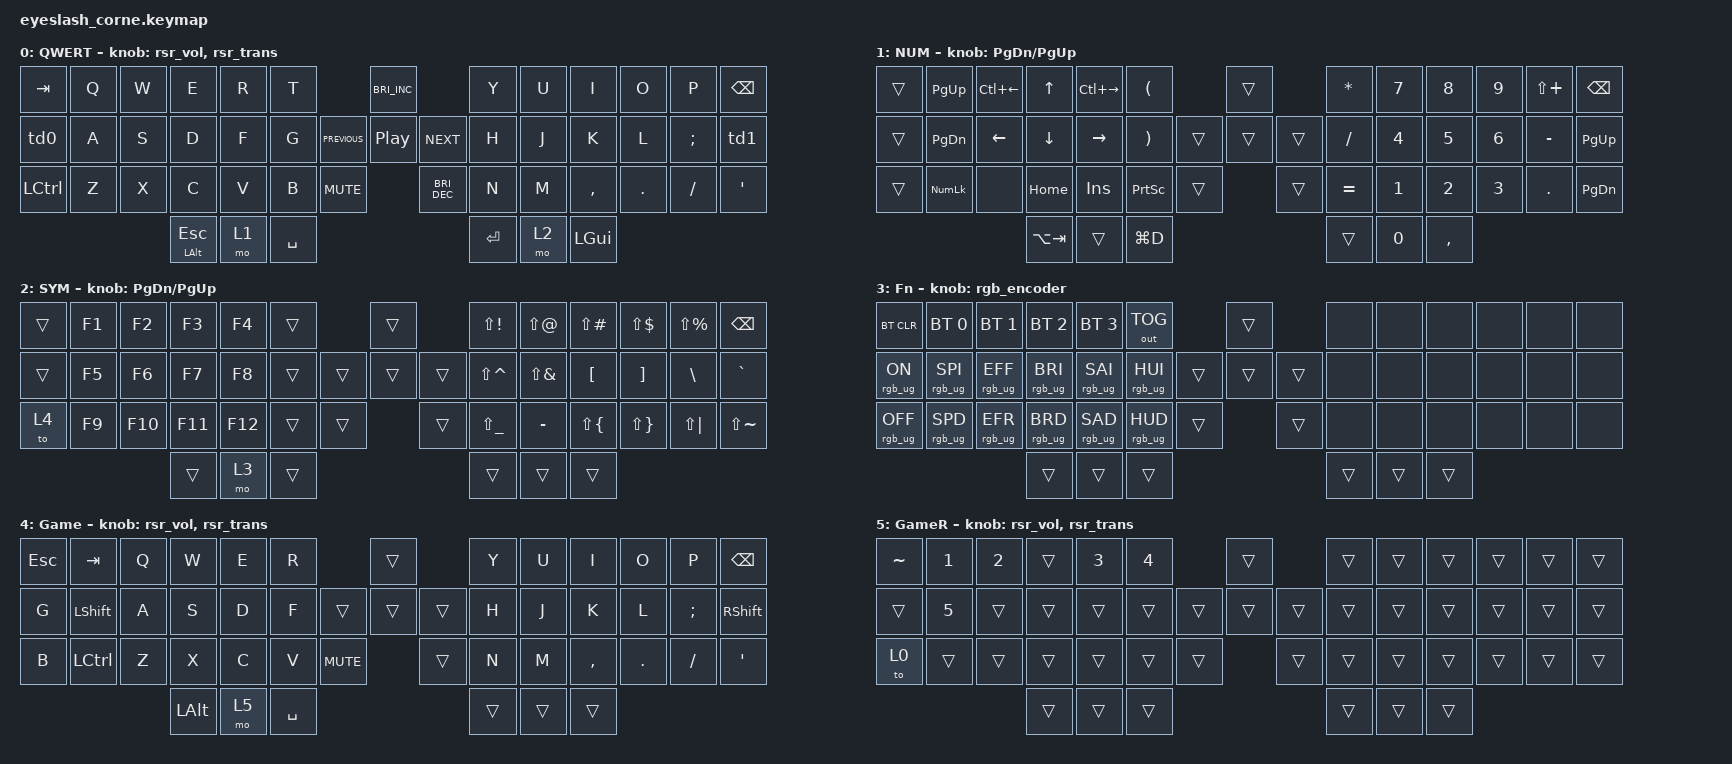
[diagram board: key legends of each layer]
#define ZMK_POINTING_DEFAULT_MOVE_VAL 1200  // 600
#define ZMK_POINTING_DEFAULT_SCRL_VAL 25   // 10

#include <input/processors.dtsi>
#include <zephyr/dt-bindings/input/input-event-codes.h>
#include <behaviors/runtime-sensor-rotate.dtsi>
#include <behaviors.dtsi>
#include <dt-bindings/zmk/bt.h>
#include <dt-bindings/zmk/keys.h>
#include <dt-bindings/zmk/outputs.h>
#include <dt-bindings/zmk/pointing.h>
#include <dt-bindings/zmk/rgb.h>

&mmv_input_listener { input-processors = <&zip_xy_scaler 2 1>; };

&msc_input_listener { input-processors = <&zip_scroll_scaler 2 1>; };

&msc {
    acceleration-exponent = <1>;      // 0
    time-to-max-speed-ms = <100>;       // 300
    delay-ms = <0>;                   // 0
};

&mmv {
    time-to-max-speed-ms = <500>;
    acceleration-exponent = <1>;
    trigger-period-ms = <16>;
};

/ {
    behaviors {
        td0: td0 {
            compatible = "zmk,behavior-tap-dance";
            display-name = "Shift/Caps Lock Tap Dance";
            #binding-cells = <0>;
            bindings = <&kp LEFT_SHIFT>, <&kp CAPS>;
        };

        td1: td1 {
            compatible = "zmk,behavior-tap-dance";
            display-name = "Shift/Caps Lock Tap Dance";
            #binding-cells = <0>;
            bindings = <&kp RIGHT_SHIFT>, <&kp CAPS>;

            label = "TD1";
        };

        rsr_vol: rsr_vol {
            compatible = "zmk,behavior-runtime-sensor-rotate";
            #sensor-binding-cells = <0>;
            tap-ms = <5>;
            cw-binding = <&kp C_VOL_UP>;
            ccw-binding = <&kp C_VOL_DN>;
        };

        rsr_trans: rsr_trans {
            compatible = "zmk,behavior-runtime-sensor-rotate";
            #sensor-binding-cells = <0>;
            tap-ms = <0>;
        };
    };

    rgb_encoder: rgb_encoder {
        compatible = "zmk,behavior-sensor-rotate";
        #sensor-binding-cells = <0>;
        bindings = <&rgb_ug RGB_BRI>, <&rgb_ug RGB_BRD>;
    };

    scroll_encoder: scroll_encoder {
        compatible = "zmk,behavior-sensor-rotate";
        #sensor-binding-cells = <0>;
        bindings = <&msc SCRL_DOWN>, <&msc SCRL_UP>;

        tap-ms = <100>;
    };

    keymap {
        compatible = "zmk,keymap";

        QWERTY {
            display-name = "QWERT";
            bindings = <
&kp TAB    &kp Q  &kp W  &kp E                &kp R  &kp T                                    &kp C_BRIGHTNESS_INC              &kp Y      &kp U  &kp I         &kp O    &kp P     &kp BSPC
&td0       &kp A  &kp S  &kp D                &kp F  &kp G                    &kp C_PREVIOUS  &kp C_PLAY_PAUSE      &kp C_NEXT  &kp H      &kp J  &kp K         &kp L    &kp SEMI  &td1
&kp LCTRL  &kp Z  &kp X  &kp C                &kp V  &kp B      &kp C_MUTE                    &kp C_BRIGHTNESS_DEC              &kp N      &kp M  &kp COMMA     &kp DOT  &kp FSLH  &kp SINGLE_QUOTE
                         &mt LEFT_ALT ESCAPE  &mo 1  &kp SPACE                                                                  &kp ENTER  &mo 2  &kp LEFT_GUI
            >;

            sensor-bindings = <&rsr_vol &rsr_trans>;
            label = "Alpha";
        };

        NUMBER {
            display-name = "NUM";
            bindings = <
&trans  &kp PAGE_UP     &kp LC(LEFT_ARROW)  &kp UP_ARROW    &kp LC(RIGHT)    &kp LEFT_PARENTHESIS                     &trans          &kp ASTERISK  &kp N7  &kp N8     &kp N9  &kp LS(PLUS)  &kp BSPC
&trans  &kp PAGE_DOWN   &kp LEFT_ARROW      &kp DOWN_ARROW  &kp RIGHT_ARROW  &kp RIGHT_PARENTHESIS            &trans  &trans  &trans  &kp FSLH      &kp N4  &kp N5     &kp N6  &kp MINUS     &kp PG_UP
&trans  &kp KP_NUMLOCK  &none               &kp HOME        &kp INSERT       &kp PRINTSCREEN        &trans            &trans          &kp EQUAL     &kp N1  &kp N2     &kp N3  &kp DOT       &kp PG_DN
                                            &kp LA(TAB)     &trans           &kp LG(D)                                                &trans        &kp N0  &kp COMMA
            >;

            sensor-bindings = <&inc_dec_kp PG_DN PG_UP>;
            label = "Num";
        };

        SYMBOL {
            display-name = "SYM";
            bindings = <
&trans  &kp F1  &kp F2   &kp F3   &kp F4   &trans                    &trans          &kp LS(EXCL)   &kp LS(AT)    &kp LS(POUND)  &kp LS(DLLR)  &kp LS(PRCNT)  &kp BSPC
&trans  &kp F5  &kp F6   &kp F7   &kp F8   &trans            &trans  &trans  &trans  &kp LS(CARET)  &kp LS(AMPS)  &kp LBKT       &kp RBKT      &kp BSLH       &kp GRAVE
&to 4   &kp F9  &kp F10  &kp F11  &kp F12  &trans  &trans            &trans          &kp LS(UNDER)  &kp MINUS     &kp LS(LBRC)   &kp LS(RBRC)  &kp LS(PIPE)   &kp LS(TILDE)
                         &trans   &mo 3    &trans                                    &trans         &trans        &trans
            >;

            sensor-bindings = <&inc_dec_kp PG_DN PG_UP>;
            label = "Sym";
        };

        Fn {
            display-name = "Fn";
            bindings = <
&bt BT_CLR       &bt BT_SEL 0     &bt BT_SEL 1     &bt BT_SEL 2     &bt BT_SEL 3     &out OUT_TOG                       &trans          &none   &none   &none   &none  &none  &none
&rgb_ug RGB_ON   &rgb_ug RGB_SPI  &rgb_ug RGB_EFF  &rgb_ug RGB_BRI  &rgb_ug RGB_SAI  &rgb_ug RGB_HUI            &trans  &trans  &trans  &none   &none   &none   &none  &none  &none
&rgb_ug RGB_OFF  &rgb_ug RGB_SPD  &rgb_ug RGB_EFR  &rgb_ug RGB_BRD  &rgb_ug RGB_SAD  &rgb_ug RGB_HUD  &trans            &trans          &none   &none   &none   &none  &none  &none
                                                   &trans           &trans           &trans                                             &trans  &trans  &trans
            >;

            sensor-bindings = <&rgb_encoder>;
        };

        Game {
            bindings = <
&kp ESC  &kp TAB    &kp Q  &kp W         &kp E  &kp R                            &trans          &kp Y   &kp U   &kp I      &kp O    &kp P     &kp BSPC
&kp G    &kp LSHFT  &kp A  &kp S         &kp D  &kp F                    &trans  &trans  &trans  &kp H   &kp J   &kp K      &kp L    &kp SEMI  &kp RSHFT
&kp B    &kp LCTRL  &kp Z  &kp X         &kp C  &kp V      &kp C_MUTE            &trans          &kp N   &kp M   &kp COMMA  &kp DOT  &kp FSLH  &kp SQT
                           &kp LEFT_ALT  &mo 5  &kp SPACE                                        &trans  &trans  &trans
            >;

            sensor-bindings = <&rsr_vol &rsr_trans>;
            label = "Game";
        };

        GameR {
            bindings = <
&kp TILDE  &kp N1  &kp N2  &trans  &kp N3  &kp N4                    &trans          &trans  &trans  &trans  &trans  &trans  &trans
&trans     &kp N5  &trans  &trans  &trans  &trans            &trans  &trans  &trans  &trans  &trans  &trans  &trans  &trans  &trans
&to 0      &trans  &trans  &trans  &trans  &trans  &trans            &trans          &trans  &trans  &trans  &trans  &trans  &trans
                           &trans  &trans  &trans                                    &trans  &trans  &trans
            >;

            sensor-bindings = <&rsr_vol &rsr_trans>;
            label = "GameR";
        };
    };
};
